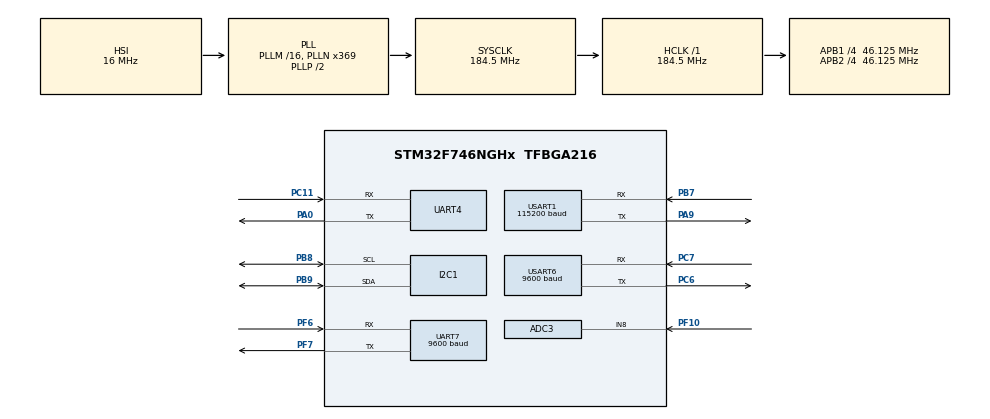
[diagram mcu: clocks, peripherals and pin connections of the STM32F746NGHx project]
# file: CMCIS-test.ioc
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ADC3.Channel-0\#ChannelRegularConversion=ADC_CHANNEL_8
ADC3.ClockPrescaler=ADC_CLOCK_SYNC_PCLK_DIV6
ADC3.ContinuousConvMode=ENABLE
ADC3.DMAContinuousRequests=ENABLE
ADC3.NbrOfConversionFlag=1
ADC3.Rank-0\#ChannelRegularConversion=1
ADC3.SamplingTime-0\#ChannelRegularConversion=ADC_SAMPLETIME_480CYCLES
CORTEX_M7.CPU_DCache=Enabled
CORTEX_M7.CPU_ICache=Enabled
Dma.ADC3.0.Direction=DMA_PERIPH_TO_MEMORY
Dma.ADC3.0.FIFOMode=DMA_FIFOMODE_DISABLE
Dma.ADC3.0.Instance=DMA2_Stream0
Dma.ADC3.0.MemDataAlignment=DMA_MDATAALIGN_HALFWORD
Dma.ADC3.0.MemInc=DMA_MINC_ENABLE
Dma.ADC3.0.Mode=DMA_CIRCULAR
Dma.ADC3.0.PeriphDataAlignment=DMA_PDATAALIGN_HALFWORD
Dma.ADC3.0.PeriphInc=DMA_PINC_DISABLE
Dma.ADC3.0.Priority=DMA_PRIORITY_LOW
Dma.Request0=ADC3
I2C1.Timing=0x20303C59
Mcu.Family=STM32F7
Mcu.Name=STM32F746NGHx
Mcu.Package=TFBGA216
NVIC.DMA2_Stream0_IRQn=true\:0\:0\:false\:false\:true\:false\:true
NVIC.PriorityGroup=NVIC_PRIORITYGROUP_4
NVIC.UART7_IRQn=true\:0\:0\:false\:false\:true\:true\:true
NVIC.USART6_IRQn=true\:0\:0\:false\:false\:true\:true\:true
PA0/WKUP.Mode=Asynchronous
PA0/WKUP.Signal=UART4_TX
PA13.Mode=Serial_Wire
PA13.Signal=SYS_JTMS-SWDIO
PA14.Mode=Serial_Wire
PA14.Signal=SYS_JTCK-SWCLK
PA9.Mode=Asynchronous
PA9.Signal=USART1_TX
PB7.Mode=Asynchronous
PB7.Signal=USART1_RX
PB8.Mode=I2C
PB8.Signal=I2C1_SCL
PB9.Mode=I2C
PB9.Signal=I2C1_SDA
PC11.Mode=Asynchronous
PC11.Signal=UART4_RX
PC6.Mode=Asynchronous
PC6.Signal=USART6_TX
PC7.Mode=Asynchronous
PC7.Signal=USART6_RX
PF10.Mode=IN8
PF10.Signal=ADC3_IN8
PF6.Mode=Asynchronous
PF6.Signal=UART7_RX
PF7.Mode=Asynchronous
PF7.Signal=UART7_TX
ProjectManager.HeapSize=0x200
ProjectManager.StackSize=0x800
ProjectManager.TargetToolchain=STM32CubeIDE
RCC.AHBFreq_Value=184500000
RCC.APB1CLKDivider=RCC_HCLK_DIV4
RCC.APB1Freq_Value=46125000
RCC.APB1TimFreq_Value=92250000
RCC.APB2CLKDivider=RCC_HCLK_DIV4
RCC.APB2Freq_Value=46125000
RCC.APB2TimFreq_Value=92250000
RCC.CortexFreq_Value=184500000
RCC.HCLKFreq_Value=184500000
RCC.HSE_VALUE=25000000
RCC.HSI_VALUE=16000000
RCC.LSE_VALUE=32768
RCC.PLLN=369
RCC.SYSCLKFreq_VALUE=184500000
RCC.SYSCLKSource=RCC_SYSCLKSOURCE_PLLCLK
RCC.USBFreq_Value=184500000
RCC.VCOOutputFreq_Value=369000000
STMicroelectronics.X-CUBE-AI.5.1.2.ActivationBufferSizeList=59476
STMicroelectronics.X-CUBE-AI.5.1.2.ApplicationCcArtificialOoIntelligenceJjApplication=ApplicationTemplate
STMicroelectronics.X-CUBE-AI.5.1.2.HeapSize=0x200
STMicroelectronics.X-CUBE-AI.5.1.2.InternalRamActivationBufferMaxSize=AI_NETWORK_DATA_ACTIVATIONS_SIZE
STMicroelectronics.X-CUBE-AI.5.1.2.LatestDirectoryUsed-55a8ef2c18eb3791c245061d32866b5f730a13137c009f10e4e2211a7f446e78=C\:\\Users\\Admin\\Desktop
STMicroelectronics.X-CUBE-AI.5.1.2.MaximumNumberOfInputLayer=1
STMicroelectronics.X-CUBE-AI.5.1.2.MaximumNumberOfOutputLayer=1
STMicroelectronics.X-CUBE-AI.5.1.2.MaximumSizeOfInputLayer=AI_NETWORK_IN_1_SIZE_BYTES
STMicroelectronics.X-CUBE-AI.5.1.2.MaximumSizeOfOutputLayer=AI_NETWORK_OUT_1_SIZE_BYTES
STMicroelectronics.X-CUBE-AI.5.1.2.ModelActualCompression-55a8ef2c18eb3791c245061d32866b5f730a13137c009f10e4e2211a7f446e78=0.0
STMicroelectronics.X-CUBE-AI.5.1.2.ModelCompression-55a8ef2c18eb3791c245061d32866b5f730a13137c009f10e4e2211a7f446e78=1
STMicroelectronics.X-CUBE-AI.5.1.2.ModelFlashOccupation-55a8ef2c18eb3791c245061d32866b5f730a13137c009f10e4e2211a7f446e78=66516
STMicroelectronics.X-CUBE-AI.5.1.2.ModelHashList=55a8ef2c18eb3791c245061d32866b5f730a13137c009f10e4e2211a7f446e78
STMicroelectronics.X-CUBE-AI.5.1.2.ModelKind-55a8ef2c18eb3791c245061d32866b5f730a13137c009f10e4e2211a7f446e78=KERAS
STMicroelectronics.X-CUBE-AI.5.1.2.ModelMacc-55a8ef2c18eb3791c245061d32866b5f730a13137c009f10e4e2211a7f446e78=3376459
STMicroelectronics.X-CUBE-AI.5.1.2.ModelName-55a8ef2c18eb3791c245061d32866b5f730a13137c009f10e4e2211a7f446e78=network
STMicroelectronics.X-CUBE-AI.5.1.2.ModelNameList=network
STMicroelectronics.X-CUBE-AI.5.1.2.ModelRamOccupation-55a8ef2c18eb3791c245061d32866b5f730a13137c009f10e4e2211a7f446e78=59476
STMicroelectronics.X-CUBE-AI.5.1.2.ModelStructureFile-55a8ef2c18eb3791c245061d32866b5f730a13137c009f10e4e2211a7f446e78=C\:\\Users\\Admin\\Desktop\\my_model_mel.h5
STMicroelectronics.X-CUBE-AI.5.1.2.ModelType-55a8ef2c18eb3791c245061d32866b5f730a13137c009f10e4e2211a7f446e78=Saved model
STMicroelectronics.X-CUBE-AI.5.1.2.StackSize=0x800
STMicroelectronics.X-CUBE-AI.5.1.2.WorkingBufferStartAddrList=0xFFFFFFFF
STMicroelectronics.X-CUBE-AI.5.1.2.XAaCUBEAaAICcArtificialOoIntelligenceJjCore=true
UART7.BaudRate=9600
USART1.BaudRate=115200
USART1.VirtualMode-Asynchronous=VM_ASYNC
USART6.BaudRate=9600
USART6.VirtualMode-Asynchronous=VM_ASYNC
VP_CRC_VS_CRC.Mode=CRC_Activate
VP_STMicroelectronics.X-CUBE-AI_VS_ArtificialOoIntelligenceJjApplication_5.1.2.Mode=ArtificialOoIntelligenceJjApplication
VP_STMicroelectronics.X-CUBE-AI_VS_ArtificialOoIntelligenceJjXAaCUBEAaAI_5.1.2.Mode=ArtificialOoIntelligenceJjXAaCUBEAaAI
board=custom

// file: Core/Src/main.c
/* USER CODE BEGIN Header */
/**
  ******************************************************************************
  * @file           : main.c
  * @brief          : Main program body
  ******************************************************************************
  * @attention
  *
  * <h2><center>&copy; Copyright (c) 2020 STMicroelectronics.
  * All rights reserved.</center></h2>
  *
  * This software component is licensed by ST under BSD 3-Clause license,
  * the "License"; You may not use this file except in compliance with the
  * License. You may obtain a copy of the License at:
  *                        opensource.org/licenses/BSD-3-Clause
  *
  ******************************************************************************
  */
/* USER CODE END Header */
#include "main.h"
#include "app_x-cube-ai.h"

/* USER CODE BEGIN Includes */
#include "arm_math.h"
#include "feature_extraction.h"
#include "string.h"
//#include "stdio.h"
#include <stdlib.h>
#include "stdint.h"
#include <math.h>
#include "DHT.h"
#include "bh1750.h"
#include "pms5003.h"
#include "math_helper.h"
#include <esp8266_communication.h>
/* USER CODE END Includes */

/* USER CODE BEGIN PTD */
//MelSpectrogram
#define HOPLENGTH 		 512
#define FILL_BUFFER_SIZE 1024
#define NFFT             1024
#define NMELS            30
#define NAUDIO 		     16896
#define ADC_BUF_LEN 16896
#define ADCbit		     12
#define SPECTROGRAM_ROWS NMELS
#define SPECTROGRAM_COLS 32
#define n_label 5

//USER DEFINE

/* USER CODE END PTD */

/* USER CODE BEGIN PD */

/*
const float32_t firCoeffs32[NUM_TAPS] = {
  -0.0018225230f, -0.0015879294f, +0.0000000000f, +0.0036977508f, +0.0080754303f, +0.0085302217f, -0.0000000000f, -0.0173976984f,
  -0.0341458607f, -0.0333591565f, +0.0000000000f, +0.0676308395f, +0.1522061835f, +0.2229246956f, +0.2504960933f, +0.2229246956f,
  +0.1522061835f, +0.0676308395f, +0.0000000000f, -0.0333591565f, -0.0341458607f, -0.0173976984f, -0.0000000000f, +0.0085302217f,
  +0.0080754303f, +0.0036977508f, +0.0000000000f, -0.0015879294f, -0.0018225230f
};
*/

//////////////////mel//////////////
static float32_t aSpectrogram[SPECTROGRAM_ROWS * SPECTROGRAM_COLS];
static float32_t aColBuffer[SPECTROGRAM_ROWS];
static uint32_t SpectrColIndex;
float32_t aWorkingBuffer1[NFFT];

static arm_rfft_fast_instance_f32 S_Rfft;
static MelFilterTypeDef           S_MelFilter;
static SpectrogramTypeDef         S_Spectr;
static MelSpectrogramTypeDef      S_MelSpectr;
/* USER CODE END PD */

/* USER CODE BEGIN PM */

float32_t data_out[5];
char Tx_Buffer[100];
volatile uint32_t Rx_indx;
float32_t data_in[NAUDIO];
float32_t pBuffer[FILL_BUFFER_SIZE];
char *Rx_Buffer_Get;
uint32_t t1,t2,t;
uint32_t len_Rx_Buffer;
uint32_t ColIndex=0;
float32_t sample, sample2;
uint16_t ADC_buffer[ADC_BUF_LEN];
uint16_t ADC_buffer_sort[ADC_BUF_LEN];
uint16_t ADC_buffer_FIR [ADC_BUF_LEN];
uint32_t ind=0,write=0;;
uint32_t i=0;
uint16_t value_lux = 0;
//uint8_t rawData[5] = {0,0,0,0,0};
extern struct PMS5003_Data PMS5003;
DHT_data d;
float max_output;
int max_output_ind;
int confirm2;
int confirm1;
int send_data=0;
uint8_t Cmd_End[3]={0xFF, 0xFF, 0xFF};
uint16_t Value_Buf [4];

/* USER CODE END PM */

ADC_HandleTypeDef hadc3;
DMA_HandleTypeDef hdma_adc3;

CRC_HandleTypeDef hcrc;

I2C_HandleTypeDef hi2c1;

UART_HandleTypeDef huart4;
UART_HandleTypeDef huart7;
UART_HandleTypeDef huart1;
UART_HandleTypeDef huart6;

void SystemClock_Config(void);
static void MX_GPIO_Init(void);
static void MX_DMA_Init(void);
static void MX_CRC_Init(void);
static void MX_USART1_UART_Init(void);
static void MX_USART6_UART_Init(void);
static void MX_ADC3_Init(void);
static void MX_I2C1_Init(void);
static void MX_UART7_Init(void);
static void MX_UART4_Init(void);
/* USER CODE BEGIN PFP */
static void PowerTodB(float32_t *pSpectrogram);
void Delete_Buffer(char *A);
void Buffer_Substring(char *Rx_Buffer_Get, char *Rx_Buffer, uint32_t start, uint32_t stop);
void Buffer_to_float(char *Rx_Buffer);
void NEXTION_Send(char * ID, uint16_t num);
void NEXTION_Sendfloat(char * ID, float num);
void Sort_ADC_buffer(void);
void Mel_array(void);
void Find_max_output_ind(void);
void Send_Activities_to_NEXTION(void);
void Send_Sensor_to_NEXTION(void);
//MelSpectrogram
static void Preprocessing_Init(void);
/* USER CODE END PFP */

int main(void)
{

  /* Enable I-Cache---------------------------------------------------------*/
  SCB_EnableICache();

  /* Enable D-Cache---------------------------------------------------------*/
  SCB_EnableDCache();

  /* MCU Configuration--------------------------------------------------------*/

  /* Reset of all peripherals, Initializes the Flash interface and the Systick. */
  HAL_Init();

  /* Configure the system clock */
  SystemClock_Config();

  /* Initialize all configured peripherals */
  MX_GPIO_Init();
  MX_DMA_Init();
  MX_CRC_Init();
  MX_USART1_UART_Init();
  MX_USART6_UART_Init();
  MX_ADC3_Init();
  MX_I2C1_Init();
  MX_UART7_Init();
  MX_UART4_Init();
  MX_X_CUBE_AI_Init();
  /* USER CODE BEGIN 2 */
  Preprocessing_Init();
  SpectrColIndex = 0;
  HAL_ADC_Start_DMA(&hadc3, (uint32_t *)ADC_buffer, ADC_BUF_LEN);
  BH1750_Init();
  BH1750_Start();
  PMS5003_ReceiveStart_IT(&huart6);
  //HAL_TIM_Base_Start_IT(&htim2);
  //ESP_Init("IoT-Research", "Tapit168");
  HAL_Delay(1000);
  /* USER CODE END 2 */

  /* Infinite loop */
  /* USER CODE BEGIN WHILE */
  while (1)
  {
	  	/*HAL_UART_Transmit(&huart7,(uint8_t *)"output.val=10",13,1000);
	  	HAL_UART_Transmit(&huart7,Cmd_End,3,100);
	    HAL_Delay(500);

	  	HAL_UART_Transmit(&huart7,(uint8_t *)"output.val=9",12,1000);
	  	HAL_UART_Transmit(&huart7,Cmd_End,3,100);
	    HAL_Delay(500);*/

	  	/*HAL_UART_Transmit(&huart7,(uint8_t *)"temp.txt=\"10\"",17,1000);
	  	HAL_UART_Transmit(&huart7,Cmd_End,3,100);
	  	HAL_Delay(1000);
	  	HAL_UART_Transmit(&huart7,(uint8_t *)"temp.txt=\"9\"",16,1000);
	  	HAL_UART_Transmit(&huart7,Cmd_End,3,100);
	  	HAL_Delay(1000);*/

	    ind=hdma_adc3.Instance->NDTR;
	    write=ADC_BUF_LEN-ind;
	    Sort_ADC_buffer();
	    //lowpass_FIR();
	    Mel_array();
	  	PowerTodB(aSpectrogram);
	  	aiRun(aSpectrogram, data_out);
	  	t1 = HAL_GetTick();
	  	Find_max_output_ind();
	  	Send_Activities_to_NEXTION();
	  	send_data++;
	  	if(send_data==15)
	  	{
	  		value_lux = BH1750_Read();
	  		PMS5003_ReceiveData_IT(&huart6);
	  		d = DHT_getData(DHT11);
	  		Send_Sensor_to_NEXTION();
	  		send_data=0;
	  		/*Value_Buf [0]=d.temp;
	  		Value_Buf [1]=d.hum;
	  		Value_Buf [2]=value_lux;
	  		Value_Buf [3]= PMS5003.pm2p5_ATM;
	  		ESP_Send_Multi("QBICBAHQY14LYJSR", 4, Value_Buf);*/
	  		esp8266_send_value(d.temp, d.hum, value_lux, PMS5003.pm1p0_ATM, PMS5003.pm2p5_ATM, PMS5003.pm10_ATM);
	  	}
	  	//HAL_Delay(200);
	  	t2 = HAL_GetTick();

	  	t = t2 - t1;
    /* USER CODE END WHILE */

  //MX_X_CUBE_AI_Process();
  }
}

void SystemClock_Config(void)
{
  RCC_OscInitTypeDef RCC_OscInitStruct = {0};
  RCC_ClkInitTypeDef RCC_ClkInitStruct = {0};
  RCC_PeriphCLKInitTypeDef PeriphClkInitStruct = {0};

  /** Configure the main internal regulator output voltage
  */
  __HAL_RCC_PWR_CLK_ENABLE();
  __HAL_PWR_VOLTAGESCALING_CONFIG(PWR_REGULATOR_VOLTAGE_SCALE1);
  /** Initializes the RCC Oscillators according to the specified parameters
  * in the RCC_OscInitTypeDef structure.
  */
  RCC_OscInitStruct.OscillatorType = RCC_OSCILLATORTYPE_HSI;
  RCC_OscInitStruct.HSIState = RCC_HSI_ON;
  RCC_OscInitStruct.HSICalibrationValue = RCC_HSICALIBRATION_DEFAULT;
  RCC_OscInitStruct.PLL.PLLState = RCC_PLL_ON;
  RCC_OscInitStruct.PLL.PLLSource = RCC_PLLSOURCE_HSI;
  RCC_OscInitStruct.PLL.PLLM = 16;
  RCC_OscInitStruct.PLL.PLLN = 369;
  RCC_OscInitStruct.PLL.PLLP = RCC_PLLP_DIV2;
  RCC_OscInitStruct.PLL.PLLQ = 2;
  if (HAL_RCC_OscConfig(&RCC_OscInitStruct) != HAL_OK)
  {
    Error_Handler();
  }
  /** Activate the Over-Drive mode
  */
  if (HAL_PWREx_EnableOverDrive() != HAL_OK)
  {
    Error_Handler();
  }
  /** Initializes the CPU, AHB and APB buses clocks
  */
  RCC_ClkInitStruct.ClockType = RCC_CLOCKTYPE_HCLK|RCC_CLOCKTYPE_SYSCLK
                              |RCC_CLOCKTYPE_PCLK1|RCC_CLOCKTYPE_PCLK2;
  RCC_ClkInitStruct.SYSCLKSource = RCC_SYSCLKSOURCE_PLLCLK;
  RCC_ClkInitStruct.AHBCLKDivider = RCC_SYSCLK_DIV1;
  RCC_ClkInitStruct.APB1CLKDivider = RCC_HCLK_DIV4;
  RCC_ClkInitStruct.APB2CLKDivider = RCC_HCLK_DIV4;

  if (HAL_RCC_ClockConfig(&RCC_ClkInitStruct, FLASH_LATENCY_6) != HAL_OK)
  {
    Error_Handler();
  }
  PeriphClkInitStruct.PeriphClockSelection = RCC_PERIPHCLK_USART1|RCC_PERIPHCLK_USART6
                              |RCC_PERIPHCLK_UART4|RCC_PERIPHCLK_UART7
                              |RCC_PERIPHCLK_I2C1;
  PeriphClkInitStruct.Usart1ClockSelection = RCC_USART1CLKSOURCE_PCLK2;
  PeriphClkInitStruct.Uart4ClockSelection = RCC_UART4CLKSOURCE_PCLK1;
  PeriphClkInitStruct.Usart6ClockSelection = RCC_USART6CLKSOURCE_PCLK2;
  PeriphClkInitStruct.Uart7ClockSelection = RCC_UART7CLKSOURCE_PCLK1;
  PeriphClkInitStruct.I2c1ClockSelection = RCC_I2C1CLKSOURCE_PCLK1;
  if (HAL_RCCEx_PeriphCLKConfig(&PeriphClkInitStruct) != HAL_OK)
  {
    Error_Handler();
  }
}

static void MX_ADC3_Init(void)
{

  ADC_ChannelConfTypeDef sConfig = {0};

  /** Configure the global features of the ADC (Clock, Resolution, Data Alignment and number of conversion)
  */
  hadc3.Instance = ADC3;
  hadc3.Init.ClockPrescaler = ADC_CLOCK_SYNC_PCLK_DIV6;
  hadc3.Init.Resolution = ADC_RESOLUTION_12B;
  hadc3.Init.ScanConvMode = ADC_SCAN_DISABLE;
  hadc3.Init.ContinuousConvMode = ENABLE;
  hadc3.Init.DiscontinuousConvMode = DISABLE;
  hadc3.Init.ExternalTrigConvEdge = ADC_EXTERNALTRIGCONVEDGE_NONE;
  hadc3.Init.ExternalTrigConv = ADC_SOFTWARE_START;
  hadc3.Init.DataAlign = ADC_DATAALIGN_RIGHT;
  hadc3.Init.NbrOfConversion = 1;
  hadc3.Init.DMAContinuousRequests = ENABLE;
  hadc3.Init.EOCSelection = ADC_EOC_SINGLE_CONV;
  if (HAL_ADC_Init(&hadc3) != HAL_OK)
  {
    Error_Handler();
  }
  /** Configure for the selected ADC regular channel its corresponding rank in the sequencer and its sample time.
  */
  sConfig.Channel = ADC_CHANNEL_8;
  sConfig.Rank = ADC_REGULAR_RANK_1;
  sConfig.SamplingTime = ADC_SAMPLETIME_480CYCLES;
  if (HAL_ADC_ConfigChannel(&hadc3, &sConfig) != HAL_OK)
  {
    Error_Handler();
  }

}

static void MX_CRC_Init(void)
{

  hcrc.Instance = CRC;
  hcrc.Init.DefaultPolynomialUse = DEFAULT_POLYNOMIAL_ENABLE;
  hcrc.Init.DefaultInitValueUse = DEFAULT_INIT_VALUE_ENABLE;
  hcrc.Init.InputDataInversionMode = CRC_INPUTDATA_INVERSION_NONE;
  hcrc.Init.OutputDataInversionMode = CRC_OUTPUTDATA_INVERSION_DISABLE;
  hcrc.InputDataFormat = CRC_INPUTDATA_FORMAT_BYTES;
  if (HAL_CRC_Init(&hcrc) != HAL_OK)
  {
    Error_Handler();
  }

}

static void MX_I2C1_Init(void)
{

  hi2c1.Instance = I2C1;
  hi2c1.Init.Timing = 0x20303C59;
  hi2c1.Init.OwnAddress1 = 0;
  hi2c1.Init.AddressingMode = I2C_ADDRESSINGMODE_7BIT;
  hi2c1.Init.DualAddressMode = I2C_DUALADDRESS_DISABLE;
  hi2c1.Init.OwnAddress2 = 0;
  hi2c1.Init.OwnAddress2Masks = I2C_OA2_NOMASK;
  hi2c1.Init.GeneralCallMode = I2C_GENERALCALL_DISABLE;
  hi2c1.Init.NoStretchMode = I2C_NOSTRETCH_DISABLE;
  if (HAL_I2C_Init(&hi2c1) != HAL_OK)
  {
    Error_Handler();
  }
  /** Configure Analogue filter
  */
  if (HAL_I2CEx_ConfigAnalogFilter(&hi2c1, I2C_ANALOGFILTER_ENABLE) != HAL_OK)
  {
    Error_Handler();
  }
  /** Configure Digital filter
  */
  if (HAL_I2CEx_ConfigDigitalFilter(&hi2c1, 0) != HAL_OK)
  {
    Error_Handler();
  }

}

static void MX_UART4_Init(void)
{

  huart4.Instance = UART4;
  huart4.Init.BaudRate = 115200;
  huart4.Init.WordLength = UART_WORDLENGTH_8B;
  huart4.Init.StopBits = UART_STOPBITS_1;
  huart4.Init.Parity = UART_PARITY_NONE;
  huart4.Init.Mode = UART_MODE_TX_RX;
  huart4.Init.HwFlowCtl = UART_HWCONTROL_NONE;
  huart4.Init.OverSampling = UART_OVERSAMPLING_16;
  huart4.Init.OneBitSampling = UART_ONE_BIT_SAMPLE_DISABLE;
  huart4.AdvancedInit.AdvFeatureInit = UART_ADVFEATURE_NO_INIT;
  if (HAL_UART_Init(&huart4) != HAL_OK)
  {
    Error_Handler();
  }

}

static void MX_UART7_Init(void)
{

  huart7.Instance = UART7;
  huart7.Init.BaudRate = 9600;
  huart7.Init.WordLength = UART_WORDLENGTH_8B;
  huart7.Init.StopBits = UART_STOPBITS_1;
  huart7.Init.Parity = UART_PARITY_NONE;
  huart7.Init.Mode = UART_MODE_TX_RX;
  huart7.Init.HwFlowCtl = UART_HWCONTROL_NONE;
  huart7.Init.OverSampling = UART_OVERSAMPLING_16;
  huart7.Init.OneBitSampling = UART_ONE_BIT_SAMPLE_DISABLE;
  huart7.AdvancedInit.AdvFeatureInit = UART_ADVFEATURE_NO_INIT;
  if (HAL_UART_Init(&huart7) != HAL_OK)
  {
    Error_Handler();
  }

}

static void MX_USART1_UART_Init(void)
{

  huart1.Instance = USART1;
  huart1.Init.BaudRate = 115200;
  huart1.Init.WordLength = UART_WORDLENGTH_8B;
  huart1.Init.StopBits = UART_STOPBITS_1;
  huart1.Init.Parity = UART_PARITY_NONE;
  huart1.Init.Mode = UART_MODE_TX_RX;
  huart1.Init.HwFlowCtl = UART_HWCONTROL_NONE;
  huart1.Init.OverSampling = UART_OVERSAMPLING_16;
  huart1.Init.OneBitSampling = UART_ONE_BIT_SAMPLE_DISABLE;
  huart1.AdvancedInit.AdvFeatureInit = UART_ADVFEATURE_NO_INIT;
  if (HAL_UART_Init(&huart1) != HAL_OK)
  {
    Error_Handler();
  }

}

static void MX_USART6_UART_Init(void)
{

  huart6.Instance = USART6;
  huart6.Init.BaudRate = 9600;
  huart6.Init.WordLength = UART_WORDLENGTH_8B;
  huart6.Init.StopBits = UART_STOPBITS_1;
  huart6.Init.Parity = UART_PARITY_NONE;
  huart6.Init.Mode = UART_MODE_TX_RX;
  huart6.Init.HwFlowCtl = UART_HWCONTROL_NONE;
  huart6.Init.OverSampling = UART_OVERSAMPLING_16;
  huart6.Init.OneBitSampling = UART_ONE_BIT_SAMPLE_DISABLE;
  huart6.AdvancedInit.AdvFeatureInit = UART_ADVFEATURE_NO_INIT;
  if (HAL_UART_Init(&huart6) != HAL_OK)
  {
    Error_Handler();
  }

}

static void MX_DMA_Init(void)
{

  /* DMA controller clock enable */
  __HAL_RCC_DMA2_CLK_ENABLE();

  /* DMA interrupt init */
  /* DMA2_Stream0_IRQn interrupt configuration */
  HAL_NVIC_SetPriority(DMA2_Stream0_IRQn, 0, 0);
  HAL_NVIC_EnableIRQ(DMA2_Stream0_IRQn);

}

static void MX_GPIO_Init(void)
{

  /* GPIO Ports Clock Enable */
  __HAL_RCC_GPIOB_CLK_ENABLE();
  __HAL_RCC_GPIOA_CLK_ENABLE();
  __HAL_RCC_GPIOC_CLK_ENABLE();
  __HAL_RCC_GPIOF_CLK_ENABLE();

}

/* USER CODE BEGIN 4 */
/////////////sắp xếp lại chuỗi dữ liệu//////
void Sort_ADC_buffer()
{
	for(int i=0;i<ind;i++)
		   ADC_buffer_sort[i]=ADC_buffer[i+write];
	for(int i=0;i<write;i++)
		   ADC_buffer_sort[i+ind]=ADC_buffer[i];
}
///////////////mảng mel 32*30 giá trị//////////////////
void Mel_array()
{
	for (ColIndex=0; ColIndex<SPECTROGRAM_COLS; ColIndex++)
	{
		for(int i=0; i<1024; i++)
		  	pBuffer[i]=(ADC_buffer_sort[ColIndex*HOPLENGTH+i]-2047.0)/2047.0;
		MelSpectrogramColumn(&S_MelSpectr, pBuffer, aColBuffer);
		for (uint32_t j = 0; j < NMELS; j++)
		{
		  	aSpectrogram[j * SPECTROGRAM_COLS + ColIndex] = aColBuffer[j];
		}
	}
}
////////////////tìm vị trí và giá trị lớn nhất của output////////////////////
void Find_max_output_ind()
{
	//confirm1=confirm2;
	confirm2=max_output_ind;
	max_output_ind=0;
	max_output=data_out[0];
	for (int i=1; i<n_label;i++)
	{
		if( data_out[i]>max_output)
		{
			max_output=data_out[i];
			max_output_ind=i;
		}
	}

	//if(data_out[1]>max_output)
		//{max_output=data_out[1];max_output_ind=1;}
	//if(data_out[2]>max_output)
		//{max_output=data_out[2];max_output_ind=2;}
	//if(data_out[3]>max_output)
		//{max_output=data_out[3];max_output_ind=3;}
	//if(data_out[4]>max_output)
		//{max_output=data_out[4];max_output_ind=4;}
}
///////////////////hiển thị hoạt động lên màn hình////////////////////
void Send_Activities_to_NEXTION(void)
{

	if(max_output>0.95)
	{
		if((confirm2==max_output_ind)/*&&(confirm2==confirm1)*/)
		{
			switch (max_output_ind)
			{
			case 1:
					HAL_UART_Transmit(&huart7,(uint8_t *)"output.val=9",12,1000);
					HAL_UART_Transmit(&huart7,Cmd_End,3,100);
					//for(int i=0; i<16896;i=i+20)
					//{
						//printf("%d %d %d %d %d %d %d %d %d %d %d %d %d %d %d %d %d %d %d %d\r\n",ADC_buffer_sort[i],ADC_buffer_sort[i+1],ADC_buffer_sort[i+2],ADC_buffer_sort[i+3],ADC_buffer_sort[i+4],ADC_buffer_sort[i+5],ADC_buffer_sort[i+6],ADC_buffer_sort[i+7],ADC_buffer_sort[i+8],ADC_buffer_sort[i+9],ADC_buffer_sort[i+10],ADC_buffer_sort[i+11],ADC_buffer_sort[i+12],ADC_buffer_sort[i+13],ADC_buffer_sort[i+14],ADC_buffer_sort[i+15],ADC_buffer_sort[i+16],ADC_buffer_sort[i+17],ADC_buffer_sort[i+18],ADC_buffer_sort[i+19]);

					//}
					break;
			case 2:
					HAL_UART_Transmit(&huart7,(uint8_t *)"output.val=10",13,1000);
				  	HAL_UART_Transmit(&huart7,Cmd_End,3,100);
				  	//for(int i=0; i<16896;i=i+20)
				  	//{
				  		//printf("%d %d %d %d %d %d %d %d %d %d %d %d %d %d %d %d %d %d %d %d\r\n",ADC_buffer_sort[i],ADC_buffer_sort[i+1],ADC_buffer_sort[i+2],ADC_buffer_sort[i+3],ADC_buffer_sort[i+4],ADC_buffer_sort[i+5],ADC_buffer_sort[i+6],ADC_buffer_sort[i+7],ADC_buffer_sort[i+8],ADC_buffer_sort[i+9],ADC_buffer_sort[i+10],ADC_buffer_sort[i+11],ADC_buffer_sort[i+12],ADC_buffer_sort[i+13],ADC_buffer_sort[i+14],ADC_buffer_sort[i+15],ADC_buffer_sort[i+16],ADC_buffer_sort[i+17],ADC_buffer_sort[i+18],ADC_buffer_sort[i+19]);

				  	//}
				  			break;
			case 3:
					HAL_UART_Transmit(&huart7,(uint8_t *)"output.val=11",13,1000);
					HAL_UART_Transmit(&huart7,Cmd_End,3,100);
					break;
			case 4:
					HAL_UART_Transmit(&huart7,(uint8_t *)"output.val=12",13,1000);
					HAL_UART_Transmit(&huart7,Cmd_End,3,100);
					/*for(int i=0; i<16896;i=i+20)
					{
						printf("%d %d %d %d %d %d %d %d %d %d %d %d %d %d %d %d %d %d %d %d\r\n",ADC_buffer_FIR[i],ADC_buffer_FIR[i+1],ADC_buffer_FIR[i+2],ADC_buffer_FIR[i+3],ADC_buffer_FIR[i+4],ADC_buffer_FIR[i+5],ADC_buffer_FIR[i+6],ADC_buffer_FIR[i+7],ADC_buffer_FIR[i+8],ADC_buffer_FIR[i+9],ADC_buffer_FIR[i+10],ADC_buffer_FIR[i+11],ADC_buffer_FIR[i+12],ADC_buffer_FIR[i+13],ADC_buffer_FIR[i+14],ADC_buffer_FIR[i+15],ADC_buffer_FIR[i+16],ADC_buffer_FIR[i+17],ADC_buffer_FIR[i+18],ADC_buffer_FIR[i+19]);

					}*/
					break;
			default:
		  			HAL_UART_Transmit(&huart7,(uint8_t *)"output.val=8",12,1000);
		  			HAL_UART_Transmit(&huart7,Cmd_End,3,100);
		  			break;
			}
		}
	}
	else
	{
		if((confirm2==max_output_ind)/*&&(confirm2==confirm1)*/)
		{
		HAL_UART_Transmit(&huart7,(uint8_t *)"output.val=7",12,1000);
		HAL_UART_Transmit(&huart7,Cmd_End,3,100);
		}
	}

}

////////////////////gửi giá trị các cảm biến lên màn hình//////////////////
void Send_Sensor_to_NEXTION(void)
{
	///cảm biến cuồng độ ánh sáng///
	NEXTION_Send("ill_val",value_lux);
	///cảm biến bụi min///
	if (PMS5003.state == PMS5003_RECEIVED)
	{
		NEXTION_Send("pm1_val",PMS5003.pm1p0_ATM);
		NEXTION_Send("pm25_val",PMS5003.pm2p5_ATM);
		NEXTION_Send("pm10_val",PMS5003.pm10_ATM);
		/*printf("    PM1.0    =    %d\r\n", PMS5003.pm1p0_ATM);
		printf("    PM2.5    =    %d\r\n", PMS5003.pm2p5_ATM);
		printf("    PM10     =    %d\r\n", PMS5003.pm10_ATM);
		printf("-----------------------------\r\n");*/
	}
	///cảm biến nhiệt độ, độ ẩm///
	if(d.temp!=0)
	{
		NEXTION_Send("temp_val",d.temp);
	}
	if(d.hum!=0)
	{
		NEXTION_Send("hum_val",d.hum);
	}
	//printf("Temp: %2.1f * С, Hum: %2.1f%%\r\n", d.temp, d.hum);
}
/// Xoa buffer
void Delete_Buffer(char *A)
{
	uint32_t i;
	uint32_t len = strlen(A);
	Rx_indx=0;
	for (i=0; i<len; i++)
	A[i]=0;
}
/// Cat chuoi trong chuoi
void Buffer_Substring(char *Rx_Buffer_Get, char *Rx_Buffer, uint32_t start, uint32_t stop)
{
	uint32_t subStrIndex;
	Delete_Buffer(Rx_Buffer_Get);
	if (stop>=start)
	{
		for(subStrIndex = start; subStrIndex<=stop; subStrIndex++)
		{
			Rx_Buffer_Get[subStrIndex-start]=Rx_Buffer[subStrIndex];
		}
	}
}
/////////gửi lên màn hình số nguyên
void NEXTION_Send(char * ID, uint16_t num)
{
	char buf[50];
	int len= sprintf(buf,"%s.txt=\"%d\"",ID,num);
	HAL_UART_Transmit(&huart7,buf,len,1000);
	HAL_UART_Transmit(&huart7,Cmd_End,3,100);
}
/////////gửi lên màn hình số thực
void NEXTION_Sendfloat(char * ID, float num)
{
	char buf[50];
	int len= sprintf(buf,"%s.txt=\"%.1f\"",ID,num);
	HAL_UART_Transmit(&huart7,buf,len,1000);
	HAL_UART_Transmit(&huart7,Cmd_End,3,100);
}
///////////////
#ifdef __GNUC__
	#define putchar_PROTOTYPE int __io_putchar(int ch)
#else
	#define putchar_PROTOTYPE int fputc(int ch, FILE *f)
#endif

	putchar_PROTOTYPE
	{

		HAL_UART_Transmit(&huart1, (uint8_t*)&ch, 1, 0xFFFF);

		return ch;
	}
//Preprocessing Init
static void Preprocessing_Init(void)
{
  /* Init RFFT */
  arm_rfft_fast_init_f32(&S_Rfft, 1024);

  /* Init Spectrogram */
  S_Spectr.pRfft    = &S_Rfft;
  S_Spectr.Type     = SPECTRUM_TYPE_POWER;
  S_Spectr.pWindow  = (float32_t *) hannWin_1024;
  S_Spectr.SampRate = 16000;
  S_Spectr.FrameLen = 1024;
  S_Spectr.FFTLen   = 1024;
  S_Spectr.pScratch = aWorkingBuffer1;

  /* Init Mel filter */
  S_MelFilter.pStartIndices = (uint32_t *) melFiltersStartIndices_1024_30;
  S_MelFilter.pStopIndices  = (uint32_t *) melFiltersStopIndices_1024_30;
  S_MelFilter.pCoefficients = (float32_t *) melFilterLut_1024_30;
  S_MelFilter.NumMels       = 30;

  /* Init MelSpectrogram */
  S_MelSpectr.SpectrogramConf = &S_Spectr;
  S_MelSpectr.MelFilter       = &S_MelFilter;
}
//Rx_Buffer to float
void Buffer_to_float(char *Rx_Buffer)
{
	uint32_t i=0, j=0;
	uint32_t start=0, stop=0;
	uint32_t len = strlen(Rx_Buffer);
	Rx_Buffer[len]=44;//44=','
	len += 1;
	while (i<= len)
	{
	   if (Rx_Buffer[i]==44)
	   {
		  stop=i;
		  Buffer_Substring(Rx_Buffer_Get,Rx_Buffer, start, stop-1);
		  data_in[j]=atof(Rx_Buffer_Get);
		  j++;
		  start=stop+1;
		  i=start;
	    }
	i++;
	}
}
//Power to db
static void PowerTodB(float32_t *pSpectrogram)
{
  float32_t max_mel_energy = 0.0f;
  uint32_t i;

  /* Find MelEnergy Scaling factor */
  for (i = 0; i < NMELS * SPECTROGRAM_COLS; i++) {
    max_mel_energy = (max_mel_energy > pSpectrogram[i]) ? max_mel_energy : pSpectrogram[i];
  }

  /* Scale Mel Energies */
  for (i = 0; i < NMELS * SPECTROGRAM_COLS; i++) {
    pSpectrogram[i] /= max_mel_energy;
  }

  /* Convert power spectrogram to decibel */
  for (i = 0; i < NMELS * SPECTROGRAM_COLS; i++) {
    pSpectrogram[i] = 10.0f * log10f(pSpectrogram[i]);
  }

  /* Threshold output to -80.0 dB */
  for (i = 0; i < NMELS * SPECTROGRAM_COLS; i++) {
    pSpectrogram[i] = (pSpectrogram[i] < -80.0f) ? (-80.0f) : (pSpectrogram[i]);
  }
}
/* USER CODE END 4 */

void Error_Handler(void)
{
}

/************************ (C) COPYRIGHT STMicroelectronics *****END OF FILE****/
